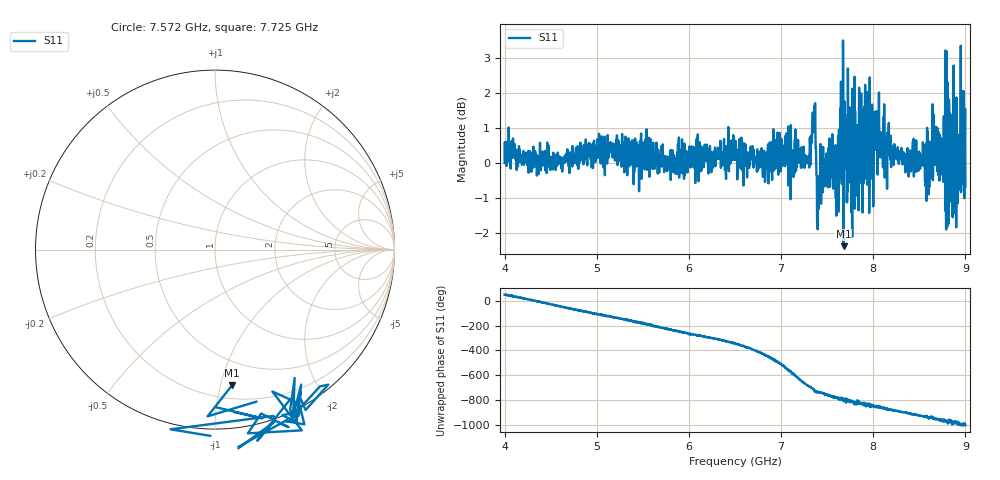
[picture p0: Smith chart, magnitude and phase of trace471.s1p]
! Created with skrf 1.8.0 (http://scikit-rf.org).
# Hz S RI R 50.0
!freq ReS11 ImS11
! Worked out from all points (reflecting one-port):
!   1601 points, 4 GHz to 9 GHz, reference 50 ohm
!   lowest |S11| = -2.4 dB at 7.678 GHz (marker M1), VSWR 7.37, Z = 15.2 - j54.4 ohm
!   phase of S11 starts at 49 deg and turns -1053 deg over the sweep
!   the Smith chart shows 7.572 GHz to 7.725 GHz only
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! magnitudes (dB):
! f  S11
! 4 GHz  0.0
! 4.625 GHz  -0.2
! 5.25 GHz  0.2
! 5.875 GHz  0.3
! 6.5 GHz  0.4
! 7.125 GHz  0.1
! 7.284 GHz  0.1
! 7.347 GHz  0.9
! 7.412 GHz  -0.5
! 7.538 GHz  0.3
! 7.6 GHz  -1.5
! 7.65 GHz  2.3
! 7.678 GHz  -2.4
! 7.75 GHz  1.1
! 7.784 GHz  -0.6
! 7.822 GHz  -0.9
! 7.875 GHz  -0.3
! 7.928 GHz  1.3
! 8.038 GHz  0.8
! 8.375 GHz  -0.1
! 8.584 GHz  1.0
! 8.656 GHz  1.4
! 8.766 GHz  1.3
! 8.809 GHz  2.3
! 8.841 GHz  0.4
! 8.919 GHz  -0.9
! 8.959 GHz  2.1
! 9 GHz  -0.7
